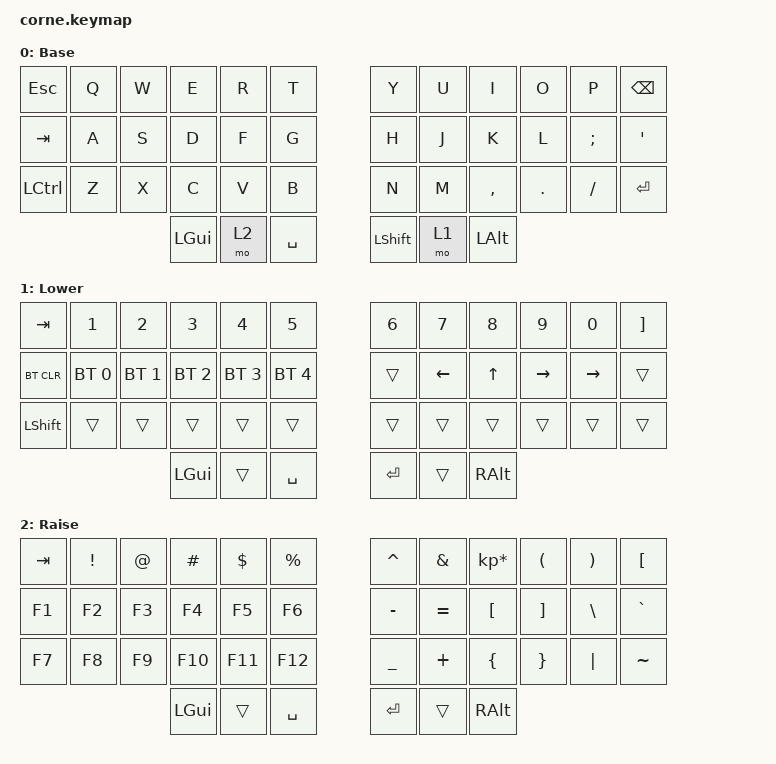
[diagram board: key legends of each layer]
/*
 * Copyright (c) 2020 The ZMK Contributors
 *
 * SPDX-License-Identifier: MIT
 */

#include <behaviors.dtsi>
#include <dt-bindings/zmk/bt.h>
#include <dt-bindings/zmk/keys.h>

/ {
    keymap {
        compatible = "zmk,keymap";

        default_layer {
            // -----------------------------------------------------------------------------------------
            // |  TAB |  Q  |  W  |  E  |  R  |  T  |   |  Y  |  U   |  I  |  O  |  P  | BKSP |
            // | CTRL |  A  |  S  |  D  |  F  |  G  |   |  H  |  J   |  K  |  L  |  ;  |  '   |
            // | SHFT |  Z  |  X  |  C  |  V  |  B  |   |  N  |  M   |  ,  |  .  |  /  | ESC  |
            //                    | GUI | LWR | SPC |   | ENT | RSE  | ALT |

            display-name = "Base";
            bindings = <
&kp ESC           &kp Q  &kp W  &kp E     &kp R  &kp T        &kp Y           &kp U  &kp I         &kp O    &kp P     &kp BACKSPACE
&kp TAB           &kp A  &kp S  &kp D     &kp F  &kp G        &kp H           &kp J  &kp K         &kp L    &kp SEMI  &kp SQT
&kp LEFT_CONTROL  &kp Z  &kp X  &kp C     &kp V  &kp B        &kp N           &kp M  &kp COMMA     &kp DOT  &kp FSLH  &kp RET
                                &kp LGUI  &mo 2  &kp SPACE    &kp LEFT_SHIFT  &mo 1  &kp LEFT_ALT
            >;
        };

        lower_layer {
            // -----------------------------------------------------------------------------------------
            // |  TAB |  1  |  2  |  3  |  4  |  5  |   |  6  |  7  |  8  |  9  |  0  | BKSP |
            // | BTCLR| BT1 | BT2 | BT3 | BT4 | BT5 |   | LFT | DWN |  UP | RGT |     |      |
            // | SHFT |     |     |     |     |     |   |     |     |     |     |     |      |
            //                    | GUI |     | SPC |   | ENT |     | ALT |

            display-name = "Lower";
            bindings = <
&kp TAB     &kp N1        &kp N2        &kp N3        &kp N4        &kp N5          &kp N6   &kp N7          &kp N8    &kp N9     &kp N0     &kp RIGHT_BRACKET
&bt BT_CLR  &bt BT_SEL 0  &bt BT_SEL 1  &bt BT_SEL 2  &bt BT_SEL 3  &bt BT_SEL 4    &trans   &kp LEFT_ARROW  &kp UP    &kp RIGHT  &kp RIGHT  &trans
&kp LSHFT   &trans        &trans        &trans        &trans        &trans          &trans   &trans          &trans    &trans     &trans     &trans
                                        &kp LGUI      &trans        &kp SPACE       &kp RET  &trans          &kp RALT
            >;
        };

        raise_layer {
            // -----------------------------------------------------------------------------------------
            // |  TAB |  !  |  @  |  #  |  $  |  %  |   |  ^  |  &  |  *  |  (  |  )  | BKSP |
            // | CTRL |     |     |     |     |     |   |  -  |  =  |  [  |  ]  |  \  |  `   |
            // | SHFT |     |     |     |     |     |   |  _  |  +  |  {  |  }  | "|" |  ~   |
            //                    | GUI |     | SPC |   | ENT |     | ALT |

            display-name = "Raise";
            bindings = <
&kp TAB  &kp EXCL  &kp AT  &kp HASH  &kp DLLR  &kp PRCNT    &kp CARET  &kp AMPS   &kp KP_MULTIPLY  &kp LPAR  &kp RPAR  &kp LEFT_BRACKET
&kp F1   &kp F2    &kp F3  &kp F4    &kp F5    &kp F6       &kp MINUS  &kp EQUAL  &kp LBKT         &kp RBKT  &kp BSLH  &kp GRAVE
&kp F7   &kp F8    &kp F9  &kp F10   &kp F11   &kp F12      &kp UNDER  &kp PLUS   &kp LBRC         &kp RBRC  &kp PIPE  &kp TILDE
                           &kp LGUI  &trans    &kp SPACE    &kp RET    &trans     &kp RALT
            >;
        };

        extra_1 { status = "reserved"; };

        extra_2 { status = "reserved"; };

        extra_3 { status = "reserved"; };
    };
};
